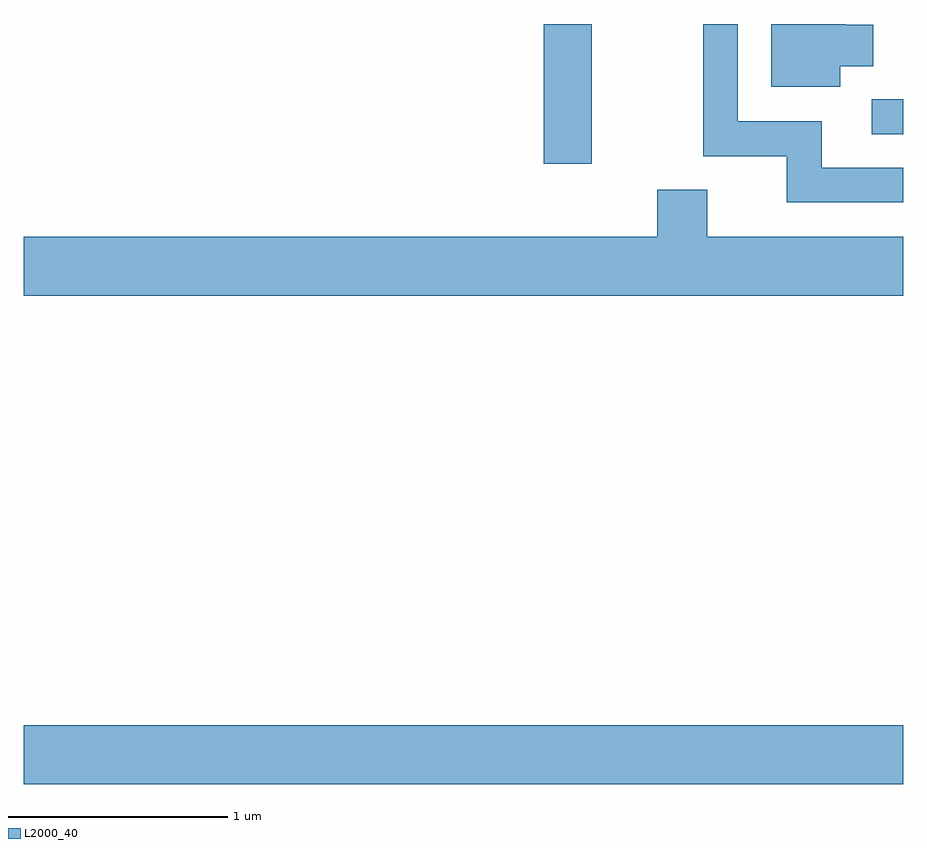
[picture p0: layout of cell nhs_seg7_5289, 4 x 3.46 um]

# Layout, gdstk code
import gdstk
lib = gdstk.Library(unit=1e-6, precision=1e-09)
def R(c, l, rs):  # rectangles x0, y0, x1, y1
    for r in rs: c.add(gdstk.rectangle(r[:2], r[2:], *l))
def P(c, l, *ps):  # polygons
    for p in ps: c.add(gdstk.Polygon(p, *l))
L2000_40 = (2000, 40)

nhs_seg7_5289 = lib.new_cell('nhs_seg7_5289')
R(nhs_seg7_5289, L2000_40, [(347.611,1678.796,351.611,1679.064), (349.976,1681.616,350.194,1682.252), (351.468,1681.751,351.611,1681.909)])
P(nhs_seg7_5289, L2000_40, [(351.324,1682.061),(351.474,1682.061),(351.474,1682.249),(351.349,1682.249),(351.349,1682.252),(351.011,1682.252),(351.011,1681.966),(351.324,1681.966)],
  [(351.611,1681.599),(351.239,1681.599),(351.239,1681.809),(350.859,1681.809),(350.859,1682.252),(350.701,1682.252),(350.701,1681.651),(351.081,1681.651),(351.081,1681.441),(351.611,1681.441)],
  [(351.611,1681.284),(350.719,1681.284),(350.719,1681.499),(350.491,1681.499),(350.491,1681.284),(347.611,1681.284),(347.611,1681.016),(351.611,1681.016)])

lib.write_gds('nhs_seg7_5289.gds')
